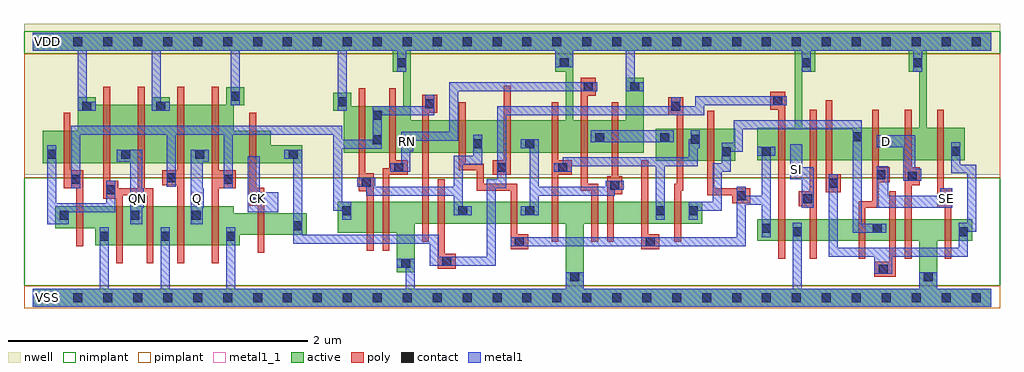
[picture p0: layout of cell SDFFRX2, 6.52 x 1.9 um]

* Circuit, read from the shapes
.subckt SDFFRX2 CK D Q QN RN SE SI VDD VSS
M1 VSS n1 n2 VSS nfet w=0.145u l=0.045u
M2 QN n2 VSS VSS nfet w=0.26u l=0.045u m=2
M3 Q n1 VSS VSS nfet w=0.26u l=0.045u m=2
M4 n3 CK VSS VSS nfet w=0.145u l=0.045u
M5 n4 n5 n1 VSS nfet w=0.205u l=0.045u
M6 VSS RN n4 VSS nfet w=0.205u l=0.045u
M7 n6 n1 VSS VSS nfet w=0.145u l=0.045u
M8 n5 n3 n6 VSS nfet w=0.145u l=0.045u
M9 n7 n8 n5 VSS nfet w=0.145u l=0.045u
M10 VSS n9 n7 VSS nfet w=0.145u l=0.045u
M11 n10 RN VSS VSS nfet w=0.145u l=0.045u
M12 n11 n7 n10 VSS nfet w=0.145u l=0.045u
M13 n9 n8 n11 VSS nfet w=0.145u l=0.045u
M14 n12 n3 n9 VSS nfet w=0.145u l=0.045u
M15 VSS n3 n8 VSS nfet w=0.145u l=0.045u
M16 n13 SI VSS VSS nfet w=0.145u l=0.045u
M17 n12 SE n13 VSS nfet w=0.145u l=0.045u
M18 n14 n15 n12 VSS nfet w=0.145u l=0.045u
M19 VSS D n14 VSS nfet w=0.145u l=0.045u
M20 n15 SE VSS VSS nfet w=0.145u l=0.045u
M21 VDD n1 n2 VDD pfet w=0.215u l=0.045u
M22 QN n2 VDD VDD pfet w=0.39u l=0.045u m=2
M23 Q n1 VDD VDD pfet w=0.39u l=0.045u m=2
M24 n3 CK VDD VDD pfet w=0.215u l=0.045u
M25 n1 n5 VDD VDD pfet w=0.31u l=0.045u
M26 VDD RN n1 VDD pfet w=0.31u l=0.045u
M27 n16 n1 VDD VDD pfet w=0.215u l=0.045u
M28 n5 n8 n16 VDD pfet w=0.215u l=0.045u
M29 n7 n3 n5 VDD pfet w=0.215u l=0.045u
M30 VDD n9 n7 VDD pfet w=0.215u l=0.045u
M31 n17 RN VDD VDD pfet w=0.215u l=0.045u
M32 VDD n7 n17 VDD pfet w=0.215u l=0.045u
M33 n9 n3 n17 VDD pfet w=0.215u l=0.045u
M34 n12 n8 n9 VDD pfet w=0.215u l=0.045u
M35 VDD n3 n8 VDD pfet w=0.215u l=0.045u
M36 n18 SI VDD VDD pfet w=0.215u l=0.045u
M37 n12 n15 n18 VDD pfet w=0.215u l=0.045u
M38 n19 SE n12 VDD pfet w=0.215u l=0.045u
M39 VDD D n19 VDD pfet w=0.215u l=0.045u
M40 n15 SE VDD VDD pfet w=0.215u l=0.045u
.ends

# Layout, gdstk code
import gdstk
lib = gdstk.Library(unit=1e-6, precision=5e-10)
def R(c, l, rs):  # rectangles x0, y0, x1, y1
    for r in rs: c.add(gdstk.rectangle(r[:2], r[2:], *l))
def A(c, l, x, y, w, h, nx, ny, dx, dy):  # array of equal rectangles
    R(c, l, [(x+i*dx, y+j*dy, x+i*dx+w, y+j*dy+h) for i in range(nx) for j in range(ny)])
def P(c, l, *ps):  # polygons
    for p in ps: c.add(gdstk.Polygon(p, *l))
active = (1, 0)
nwell = (2, 0)
poly = (3, 0)
nimplant = (4, 0)
pimplant = (5, 0)
contact = (6, 0)
metal1 = (7, 0)
metal1_1 = (7, 1)

sdffrx2 = lib.new_cell('SDFFRX2')
R(sdffrx2, active, [(4.16,0.915,4.69,1.13)])
P(sdffrx2, active, [(0,1.77),(6.4,1.77),(6.4,1.65),(5.97,1.65),(5.97,1.135),(6.225,1.135),(6.225,0.92),(4.84,0.92),(4.84,1.135),(5.09,1.135),(5.09,1.65),(5.225,1.65),(5.225,1.51),(5.14,1.51),(5.14,1.135),(5.92,1.135),(5.92,1.51),(5.85,1.51),(5.85,1.65),(3.61,1.65),(3.61,1.185),(3.96,1.185),(3.96,1.47),(4.08,1.47),(4.08,0.97),(2.075,0.97),(2.075,1.25),(2.005,1.25),(2.005,1.37),(2.125,1.37),(2.125,1.28),(2.475,1.28),(2.475,1.51),(2.405,1.51),(2.405,1.65),(2.525,1.65),(2.525,1.185),(3.56,1.185),(3.56,1.51),(3.49,1.51),(3.49,1.65),(0,1.65)],
  [(0.3,1.34),(0.42,1.34),(0.42,1.29),(0.795,1.29),(0.795,1.34),(0.915,1.34),(0.915,1.29),(1.29,1.29),(1.29,1.405),(1.41,1.405),(1.41,1.285),(1.34,1.285),(1.34,1.115),(1.59,1.115),(1.59,1.02),(1.8,1.02),(1.8,0.9),(0.065,0.9),(0.065,1.115),(0.3,1.115)],
  [(0.15,0.61),(1.34,0.61),(1.34,0.565),(1.83,0.565),(1.83,0.42),(1.38,0.42),(1.38,0.35),(0.415,0.35),(0.415,0.465),(0.15,0.465)],
  [(2.035,0.64),(4.47,0.64),(4.47,0.495),(3.68,0.495),(3.68,0.06),(5.92,0.06),(5.92,0.38),(4.84,0.38),(4.84,0.525),(6.275,0.525),(6.275,0.38),(6.04,0.38),(6.04,0.06),(6.4,0.06),(6.4,-0.06),(0,-0.06),(0,0.06),(3.56,0.06),(3.56,0.495),(2.55,0.495),(2.55,0.17),(2.43,0.17),(2.43,0.435),(2.035,0.435)])
R(sdffrx2, nwell, [(-0.06,0.82,6.46,1.83)])
P(sdffrx2, poly, [(0.47,1.41),(0.515,1.41),(0.515,0.78),(0.57,0.78),(0.57,0.73),(0.7,0.73),(0.7,1.41),(0.745,1.41),(0.745,0.73),(0.805,0.73),(0.805,0.23),(0.76,0.23),(0.76,0.685),(0.6,0.685),(0.6,0.23),(0.555,0.23),(0.555,0.66),(0.47,0.66)],
  [(0.205,1.235),(0.25,1.235),(0.25,0.85),(0.335,0.85),(0.335,0.345),(0.29,0.345),(0.29,0.73),(0.205,0.73)],
  [(0.965,1.41),(1.01,1.41),(1.01,0.23),(0.965,0.23),(0.965,0.75),(0.865,0.75),(0.865,0.85),(0.965,0.85)],
  [(1.195,1.41),(1.24,1.41),(1.24,0.85),(1.355,0.85),(1.355,0.73),(1.24,0.73),(1.24,0.23),(1.195,0.23)],
  [(2.175,1.4),(2.22,1.4),(2.22,0.83),(2.275,0.83),(2.275,0.315),(2.23,0.315),(2.23,0.71),(2.175,0.71)],
  [(2.38,1.4),(2.425,1.4),(2.425,0.92),(2.505,0.92),(2.505,0.82),(2.38,0.82),(2.38,0.315),(2.335,0.315),(2.335,0.865),(2.38,0.865)],
  [(1.445,1.235),(1.49,1.235),(1.49,0.735),(1.545,0.735),(1.545,0.3),(1.5,0.3),(1.5,0.615),(1.445,0.615)],
  [(2.6,1.355),(2.7,1.355),(2.7,1.235),(2.645,1.235),(2.645,0.375),(2.6,0.375)],
  [(4.925,1.375),(5.025,1.375),(5.025,0.26),(4.98,0.26),(4.98,1.255),(4.925,1.255)],
  [(2.845,1.305),(2.89,1.305),(2.89,0.895),(3.01,0.895),(3.01,0.76),(3.235,0.76),(3.235,0.425),(3.31,0.425),(3.31,0.325),(3.19,0.325),(3.19,0.715),(2.965,0.715),(2.965,0.85),(2.845,0.85)],
  [(3.145,1.415),(3.19,1.415),(3.19,0.82),(3.07,0.82),(3.07,0.92),(3.145,0.92)],
  [(3.465,1.305),(3.51,1.305),(3.51,0.92),(3.6,0.92),(3.6,0.82),(3.51,0.82),(3.51,0.375),(3.465,0.375)],
  [(3.66,1.47),(3.76,1.47),(3.76,1.35),(3.705,1.35),(3.705,0.76),(3.775,0.76),(3.775,0.375),(3.73,0.375),(3.73,0.715),(3.66,0.715)],
  [(3.865,1.305),(3.91,1.305),(3.91,0.81),(3.935,0.81),(3.935,0.69),(3.88,0.69),(3.88,0.375),(3.835,0.375),(3.835,0.81),(3.865,0.81)],
  [(4.245,1.34),(4.345,1.34),(4.345,0.715),(4.33,0.715),(4.33,0.375),(4.285,0.375),(4.285,0.76),(4.3,0.76),(4.3,1.22),(4.245,1.22)],
  [(5.19,1.255),(5.235,1.255),(5.235,0.26),(5.19,0.26),(5.19,0.61),(5.115,0.61),(5.115,0.71),(5.19,0.71)],
  [(5.295,1.32),(5.34,1.32),(5.34,0.825),(5.395,0.825),(5.395,0.705),(5.295,0.705)],
  [(5.605,1.255),(5.65,1.255),(5.65,0.87),(5.725,0.87),(5.725,0.77),(5.65,0.77),(5.65,0.6),(5.56,0.6),(5.56,0.26),(5.515,0.26),(5.515,0.645),(5.605,0.645)],
  [(5.825,1.255),(5.87,1.255),(5.87,0.87),(5.925,0.87),(5.925,0.75),(5.87,0.75),(5.87,0.26),(5.825,0.26)],
  [(6.04,1.255),(6.085,1.255),(6.085,0.72),(6.14,0.72),(6.14,0.6),(6.135,0.6),(6.135,0.26),(6.09,0.26),(6.09,0.6),(6.04,0.6)],
  [(4.505,1.25),(4.55,1.25),(4.55,0.73),(4.79,0.73),(4.79,0.63),(4.67,0.63),(4.67,0.685),(4.505,0.685)],
  [(2.705,0.79),(2.75,0.79),(2.75,0.295),(2.825,0.295),(2.825,0.195),(2.705,0.195)],
  [(4.065,0.92),(4.11,0.92),(4.11,0.425),(4.185,0.425),(4.185,0.325),(4.065,0.325)],
  [(5.72,0.71),(5.765,0.71),(5.765,0.14),(5.62,0.14),(5.62,0.24),(5.72,0.24)])
R(sdffrx2, nimplant, [(-0.06,0.08,6.46,0.8), (-0.06,1.63,6.46,1.78)])
R(sdffrx2, pimplant, [(-0.06,-0.07,6.46,0.08), (-0.06,0.8,6.46,1.63)])
A(sdffrx2, contact, 0.07, -0.03, 0.06, 0.06, 32, 2, 0.2, 1.71)
A(sdffrx2, contact, 0.095, 0.93, 0.06, 0.06, 3, 1, 0.495, 0)
R(sdffrx2, contact, [(3.59,0.11,3.65,0.17), (5.95,0.11,6.01,0.17), (5.65,0.16,5.71,0.22), (2.46,0.2,2.52,0.26), (2.735,0.215,2.795,0.275), (3.22,0.345,3.28,0.405), (4.095,0.345,4.155,0.405), (0.445,0.38,0.505,0.44), (0.855,0.38,0.915,0.44), (1.29,0.38,1.35,0.44), (5.075,0.41,5.135,0.47), (6.185,0.41,6.245,0.47), (4.87,0.435,4.93,0.495), (5.61,0.435,5.67,0.495), (1.74,0.45,1.8,0.51), (0.18,0.52,0.24,0.58), (0.65,0.52,0.71,0.58), (1.06,0.52,1.12,0.58), (2.065,0.55,2.125,0.61), (2.84,0.55,2.9,0.61), (3.29,0.55,3.35,0.61), (4.16,0.55,4.22,0.61), (4.38,0.55,4.44,0.61), (5.145,0.63,5.205,0.69), (6.06,0.63,6.12,0.69), (1.465,0.645,1.525,0.705), (4.7,0.65,4.76,0.71), (0.49,0.69,0.55,0.75), (3.855,0.72,3.915,0.78), (5.315,0.735,5.375,0.795), (2.195,0.74,2.255,0.8), (0.255,0.76,0.315,0.82), (1.275,0.76,1.335,0.82), (0.895,0.77,0.955,0.83), (5.845,0.78,5.905,0.84), (5.635,0.79,5.695,0.85), (2.415,0.84,2.475,0.9), (3.1,0.84,3.16,0.9), (3.51,0.84,3.57,0.9), (1.71,0.93,1.77,0.99), (4.6,0.945,4.66,1.005), (4.87,0.95,4.93,1.01), (6.135,0.95,6.195,1.01), (2.94,1,3,1.06), (3.29,1,3.35,1.06), (2.27,1.025,2.33,1.085), (4.395,1.03,4.455,1.09), (3.755,1.04,3.815,1.1), (4.19,1.04,4.25,1.1), (5.475,1.045,5.535,1.105), (2.27,1.19,2.33,1.25), (0.33,1.25,0.39,1.31), (0.825,1.25,0.885,1.31), (4.265,1.25,4.325,1.31), (2.62,1.265,2.68,1.325), (2.035,1.28,2.095,1.34), (4.945,1.285,5.005,1.345), (1.32,1.315,1.38,1.375), (3.68,1.38,3.74,1.44), (3.99,1.38,4.05,1.44), (2.435,1.54,2.495,1.6), (3.52,1.54,3.58,1.6), (5.135,1.54,5.195,1.6), (5.88,1.54,5.94,1.6)])
R(sdffrx2, metal1, [(3.725,1.04,4.28,1.12)])
P(sdffrx2, metal1, [(0,1.77),(6.4,1.77),(6.4,1.65),(5.94,1.65),(5.94,1.51),(5.88,1.51),(5.88,1.65),(5.195,1.65),(5.195,1.51),(5.135,1.51),(5.135,1.65),(4.02,1.65),(4.02,1.44),(4.08,1.44),(4.08,1.38),(3.96,1.38),(3.96,1.65),(3.61,1.65),(3.61,1.54),(3.49,1.54),(3.49,1.65),(2.495,1.65),(2.495,1.51),(2.435,1.51),(2.435,1.65),(2.095,1.65),(2.095,1.25),(2.035,1.25),(2.035,1.65),(1.38,1.65),(1.38,1.285),(1.32,1.285),(1.32,1.65),(0.855,1.65),(0.855,1.31),(0.915,1.31),(0.915,1.25),(0.795,1.25),(0.795,1.65),(0.36,1.65),(0.36,1.31),(0.42,1.31),(0.42,1.25),(0.3,1.25),(0.3,1.65),(0,1.65)],
  [(2.62,1.355),(2.68,1.355),(2.68,1.22),(2.33,1.22),(2.33,0.995),(2.065,0.995),(2.065,0.64),(2.125,0.64),(2.125,0.52),(2.065,0.52),(2.065,0.58),(2.005,0.58),(2.005,1.09),(1.335,1.09),(1.335,0.73),(1.275,0.73),(1.275,1.09),(0.955,1.09),(0.955,0.74),(0.895,0.74),(0.895,1.09),(0.315,1.09),(0.315,0.73),(0.255,0.73),(0.255,1.15),(2.065,1.15),(2.065,1.055),(2.27,1.055),(2.27,1.28),(2.62,1.28)],
  [(2.78,1.44),(3.77,1.44),(3.77,1.38),(2.84,1.38),(2.84,1.05),(2.54,1.05),(2.54,0.98),(2.52,0.98),(2.52,0.84),(2.385,0.84),(2.385,0.9),(2.46,0.9),(2.46,1.11),(2.78,1.11)],
  [(4.265,1.34),(4.325,1.34),(4.325,1.28),(4.425,1.28),(4.425,1.345),(5.035,1.345),(5.035,1.285),(4.485,1.285),(4.485,1.22),(3.16,1.22),(3.16,0.73),(3.09,0.73),(3.09,0.215),(2.65,0.215),(2.65,0.36),(1.74,0.36),(1.74,0.93),(1.68,0.93),(1.68,0.99),(1.8,0.99),(1.8,0.42),(2.71,0.42),(2.71,0.275),(3.03,0.275),(3.03,0.79),(3.1,0.79),(3.1,1.28),(4.265,1.28)],
  [(0.095,1.02),(0.155,1.02),(0.155,0.63),(0.49,0.63),(0.49,0.78),(0.55,0.78),(0.55,0.57),(0.24,0.57),(0.24,0.49),(0.095,0.49)],
  [(0.56,0.99),(0.73,0.99),(0.73,0.73),(0.74,0.73),(0.74,0.6),(0.73,0.6),(0.73,0.49),(0.65,0.49),(0.65,0.91),(0.56,0.91)],
  [(1.055,0.99),(1.175,0.99),(1.175,0.91),(1.135,0.91),(1.135,0.73),(1.14,0.73),(1.14,0.6),(1.135,0.6),(1.135,0.49),(1.055,0.49)],
  [(1.435,0.945),(1.515,0.945),(1.515,0.705),(1.64,0.705),(1.64,0.57),(1.435,0.57)],
  [(0.445,0.47),(0.505,0.47),(0.505,0.06),(0.855,0.06),(0.855,0.47),(0.915,0.47),(0.915,0.06),(1.29,0.06),(1.29,0.47),(1.35,0.47),(1.35,0.06),(2.49,0.06),(2.49,0.2),(2.43,0.2),(2.43,0.26),(2.55,0.26),(2.55,0.06),(3.56,0.06),(3.56,0.17),(3.68,0.17),(3.68,0.06),(5.075,0.06),(5.075,0.5),(5.135,0.5),(5.135,0.06),(5.92,0.06),(5.92,0.17),(6.04,0.17),(6.04,0.06),(6.4,0.06),(6.4,-0.06),(0,-0.06),(0,0.06),(0.445,0.06)],
  [(4.68,1.185),(5.535,1.185),(5.535,0.495),(5.7,0.495),(5.7,0.435),(5.475,0.435),(5.475,1.125),(4.74,1.125),(4.74,0.975),(4.66,0.975),(4.66,0.84),(4.6,0.84),(4.6,0.58),(4.44,0.58),(4.44,0.52),(4.38,0.52),(4.38,0.64),(4.54,0.64),(4.54,0.9),(4.6,0.9),(4.6,1.035),(4.68,1.035)],
  [(2.94,1.09),(3,1.09),(3,0.89),(2.87,0.89),(2.87,0.61),(2.93,0.61),(2.93,0.55),(2.81,0.55),(2.81,0.68),(2.225,0.68),(2.225,0.74),(2.165,0.74),(2.165,0.8),(2.285,0.8),(2.285,0.74),(2.81,0.74),(2.81,0.95),(2.94,0.95)],
  [(3.26,1.06),(3.38,1.06),(3.38,0.74),(3.825,0.74),(3.825,0.78),(3.945,0.78),(3.945,0.72),(3.885,0.72),(3.885,0.68),(3.38,0.68),(3.38,0.55),(3.26,0.55),(3.26,0.61),(3.32,0.61),(3.32,1),(3.26,1)],
  [(4.395,1.12),(4.455,1.12),(4.455,1),(4.44,1),(4.44,0.88),(4.22,0.88),(4.22,0.52),(4.16,0.52),(4.16,0.88),(3.6,0.88),(3.6,0.84),(3.48,0.84),(3.48,0.9),(3.54,0.9),(3.54,0.94),(4.38,0.94),(4.38,1.06),(4.395,1.06)],
  [(4.84,1.01),(4.96,1.01),(4.96,0.95),(4.93,0.95),(4.93,0.405),(4.87,0.405),(4.87,0.62),(4.76,0.62),(4.76,0.345),(3.19,0.345),(3.19,0.405),(4.7,0.405),(4.7,0.74),(4.76,0.74),(4.76,0.68),(4.87,0.68),(4.87,0.95),(4.84,0.95)],
  [(5.635,1.085),(5.895,1.085),(5.895,0.86),(5.935,0.86),(5.935,0.78),(5.815,0.78),(5.815,1.005),(5.635,1.005)],
  [(5.06,1.025),(5.14,1.025),(5.14,0.87),(5.215,0.87),(5.215,0.6),(5.135,0.6),(5.135,0.79),(5.06,0.79)],
  [(6.135,1.04),(6.195,1.04),(6.195,0.89),(6.3,0.89),(6.3,0.44),(6.245,0.44),(6.245,0.275),(5.74,0.275),(5.74,0.16),(5.62,0.16),(5.62,0.275),(5.315,0.275),(5.315,0.825),(5.375,0.825),(5.375,0.335),(6.185,0.335),(6.185,0.5),(6.24,0.5),(6.24,0.83),(6.135,0.83)],
  [(5.635,0.88),(5.715,0.88),(5.715,0.68),(6.06,0.68),(6.06,0.73),(6.14,0.73),(6.14,0.6),(5.635,0.6)])
A(sdffrx2, metal1_1, 0.66, 0.625, 0.08, 0.08, 3, 1, 0.4, 0)
R(sdffrx2, metal1_1, [(0.06,-0.04,0.14,0.04), (6.06,0.625,6.14,0.705), (5.06,0.815,5.14,0.895), (2.46,1.005,2.54,1.085), (5.66,1.005,5.74,1.085), (0.06,1.67,0.14,1.75)])
sdffrx2.add(gdstk.Label('Q', (1.1,0.665), layer=7, texttype=1))
sdffrx2.add(gdstk.Label('QN', (0.7,0.665), layer=7, texttype=1))
sdffrx2.add(gdstk.Label('SE', (6.1,0.665), layer=7, texttype=1))
sdffrx2.add(gdstk.Label('D', (5.7,1.045), layer=7, texttype=1))
sdffrx2.add(gdstk.Label('SI', (5.1,0.855), layer=7, texttype=1))
sdffrx2.add(gdstk.Label('RN', (2.5,1.045), layer=7, texttype=1))
sdffrx2.add(gdstk.Label('CK', (1.5,0.665), layer=7, texttype=1))
sdffrx2.add(gdstk.Label('VDD', (0.1,1.71), layer=7, texttype=1))
sdffrx2.add(gdstk.Label('VSS', (0.1,0), layer=7, texttype=1))
sdffrx2.add(gdstk.Label('SDFFRX2', (0,0), layer=63, texttype=0))

lib.write_gds('SDFFRX2.gds')
